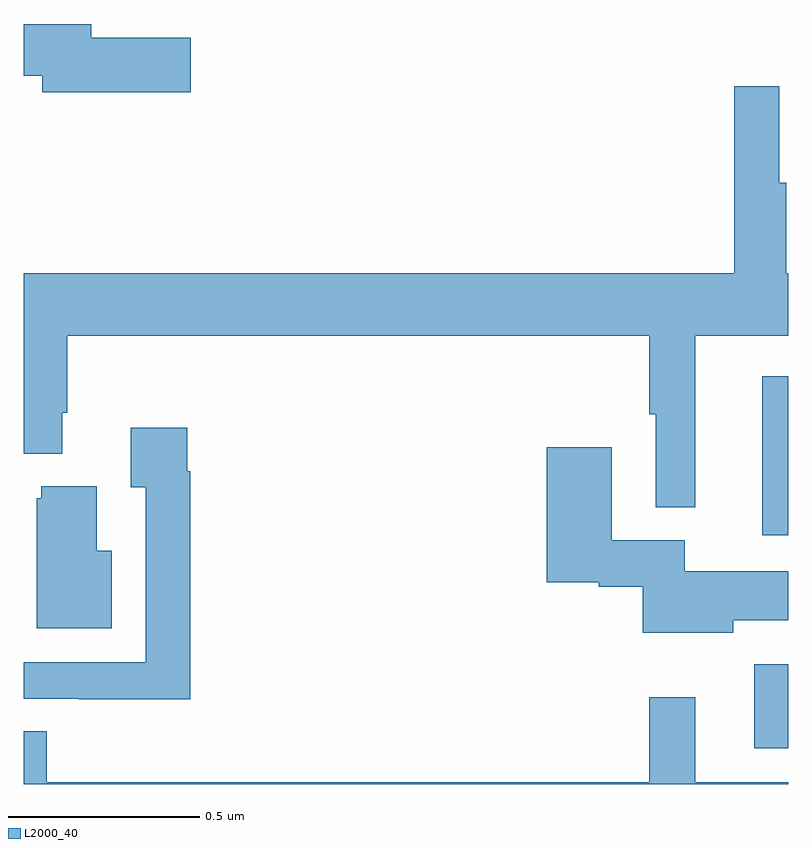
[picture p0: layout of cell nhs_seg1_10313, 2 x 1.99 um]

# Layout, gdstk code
import gdstk
lib = gdstk.Library(unit=1e-6, precision=1e-09)
def R(c, l, rs):  # rectangles x0, y0, x1, y1
    for r in rs: c.add(gdstk.rectangle(r[:2], r[2:], *l))
def P(c, l, *ps):  # polygons
    for p in ps: c.add(gdstk.Polygon(p, *l))
L2000_40 = (2000, 40)

nhs_seg1_10313 = lib.new_cell('nhs_seg1_10313')
R(nhs_seg1_10313, L2000_40, [(240.911,577.293,241,577.513), (240.932,577.85,241,578.266)])
P(nhs_seg1_10313, L2000_40, [(239.437,579.152),(239.176,579.152),(239.176,579.188),(239,579.188),(239,579.052),(239.048,579.052),(239.048,579.01),(239.437,579.01)],
  [(239,578.063),(239.101,578.063),(239.101,578.17),(239.114,578.17),(239.114,578.372),(240.636,578.372),(240.636,578.167),(240.653,578.167),(240.653,577.923),(240.757,577.923),(240.757,578.372),(241,578.372),(241,578.536),(240.995,578.536),(240.995,578.772),(240.977,578.772),(240.977,579.025),(240.859,579.025),(240.859,578.536),(239,578.536)],
  [(239.435,578.018),(239.428,578.018),(239.428,578.131),(239.279,578.131),(239.279,577.975),(239.319,577.975),(239.319,577.518),(239,577.518),(239,577.422),(239.143,577.422),(239.143,577.421),(239.435,577.421)],
  [(240.856,577.627),(241,577.627),(241,577.756),(240.73,577.756),(240.73,577.837),(240.538,577.837),(240.538,578.08),(240.368,578.08),(240.368,577.727),(240.504,577.727),(240.504,577.715),(240.62,577.715),(240.62,577.595),(240.856,577.595)],
  [(239.23,577.81),(239.191,577.81),(239.191,577.978),(239.045,577.978),(239.045,577.947),(239.033,577.947),(239.033,577.607),(239.23,577.607)],
  [(241,577.204),(240.757,577.204),(240.757,577.426),(240.636,577.426),(240.636,577.204),(239.06,577.204),(239.06,577.337),(239,577.337),(239,577.199),(241,577.199)])

lib.write_gds('nhs_seg1_10313.gds')
